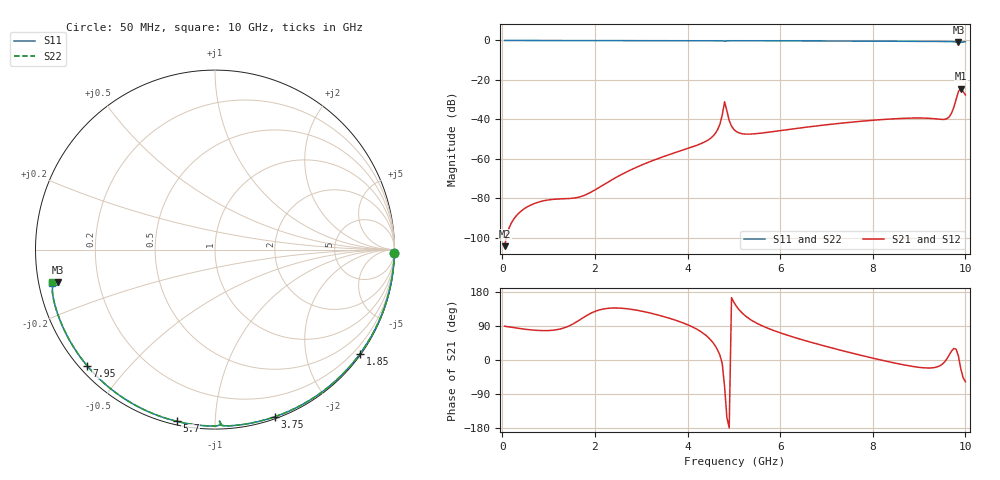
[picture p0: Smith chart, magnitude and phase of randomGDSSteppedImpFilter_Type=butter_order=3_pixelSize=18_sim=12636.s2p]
! freq	dB(S11)	phase(S11)	dB(S12)	phase(S12)
!  dB(S21)	phase(S21)	dB(S22)	phase(S22)
!S-par simulation data
#  GHz  S  DB  R 50
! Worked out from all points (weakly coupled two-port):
!   200 points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, 50 MHz to 10 GHz, reference 50 ohm
!   highest |S21| = -24.39 dB at 9.9 GHz (marker M1); lowest = -104.3 dB at 50 MHz (marker M2)
!   lowest |S11| = -1.0 dB at 9.85 GHz (marker M3), VSWR 17.85, Z = 2.83 - j5.07 ohm
!   |S11| at or under -10 dB: nowhere
!   |S22| runs from -1.0 to 0.0 dB; largest |S21 - S12| = 0
!   S11 on the Smith chart (normalised r, x): 50 MHz: open; 1.85 GHz: 0.03, -3.10; 3.75 GHz: 0.02, -1.42; 5.7 GHz: 0.02, -0.80; 7.95 GHz: 0.02, -0.39; 10 GHz: 0.04, -0.10
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0.05  -0.00 -1.0  -104.33 89.1  -104.33 89.1  -0.00 -1.0
1.75  -0.04 -33.8  -78.75 111.9  -78.75 111.9  -0.04 -33.8
1.85  -0.05 -35.7  -77.74 119.3  -77.74 119.3  -0.05 -35.7
2.65  -0.07 -50.5  -67.06 135.8  -67.06 135.8  -0.07 -50.6
3.4  -0.09 -64.0  -59.58 117.5  -59.58 117.5  -0.09 -64.0
3.75  -0.10 -70.2  -56.74 104.7  -56.74 104.7  -0.10 -70.2
4.3  -0.11 -79.7  -52.23 73.9  -52.23 73.9  -0.11 -79.7
4.55  -0.12 -84.0  -48.53 45.8  -48.53 45.8  -0.12 -84.0
4.7  -0.14 -86.8  -42.41 12.3  -42.41 12.3  -0.14 -86.8
4.8  -0.40 -88.5  -31.08 -70.4  -31.08 -70.4  -0.40 -88.5
4.9  -0.16 -89.1  -40.65 -179.4  -40.65 -179.4  -0.16 -89.1
5.05  -0.15 -91.9  -46.14 142.8  -46.14 142.8  -0.15 -91.9
5.25  -0.15 -95.3  -47.48 116.3  -47.48 116.3  -0.15 -95.3
5.7  -0.17 -102.6  -46.68 85.5  -46.68 85.5  -0.17 -102.6
6.7  -0.23 -118.4  -43.59 45.6  -43.59 45.6  -0.23 -118.5
7.95  -0.33 -137.8  -40.57 6.4  -40.57 6.4  -0.33 -137.8
8.35  -0.37 -144.0  -39.89 -4.8  -39.89 -4.8  -0.37 -144.0
9.6  -0.55 -164.2  -39.69 2.8  -39.69 2.8  -0.55 -164.2
9.7  -0.60 -166.1  -36.92 23.5  -36.92 23.5  -0.60 -166.1
9.85  -0.97 -168.4  -25.82 10.3  -25.82 10.3  -0.97 -168.4
9.9  -0.97 -167.1  -24.39 -22.8  -24.39 -22.8  -0.97 -167.2
10  -0.66 -168.6  -27.62 -57.3  -27.62 -57.3  -0.66 -168.6
